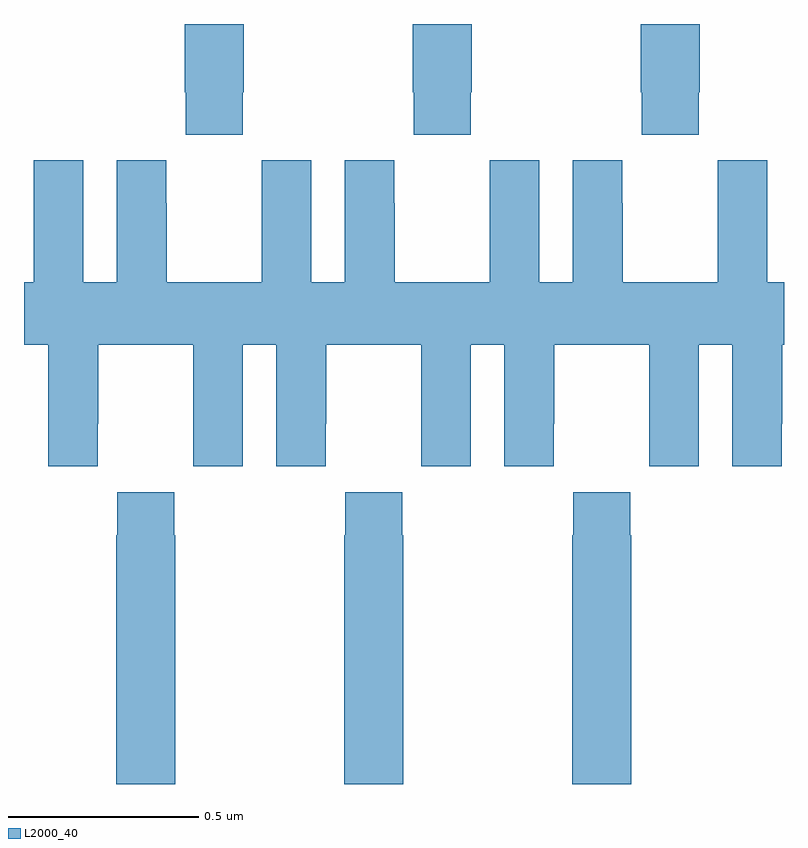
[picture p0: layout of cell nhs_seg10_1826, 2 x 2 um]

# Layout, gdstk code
import gdstk
lib = gdstk.Library(unit=1e-6, precision=1e-09)
def P(c, l, *ps):  # polygons
    for p in ps: c.add(gdstk.Polygon(p, *l))
L2000_40 = (2000, 40)

nhs_seg10_1826 = lib.new_cell('nhs_seg10_1826')
P(nhs_seg10_1826, L2000_40, [(133.575,1294.321),(133.578,1294.321),(133.578,1294.5),(133.423,1294.5),(133.423,1294.321),(133.425,1294.321),(133.425,1294.209),(133.575,1294.209)],
  [(134.175,1294.321),(134.178,1294.321),(134.178,1294.5),(134.023,1294.5),(134.023,1294.321),(134.025,1294.321),(134.025,1294.209),(134.175,1294.209)],
  [(134.775,1294.321),(134.778,1294.321),(134.778,1294.5),(134.623,1294.5),(134.623,1294.321),(134.625,1294.321),(134.625,1294.209),(134.775,1294.209)],
  [(133.844,1294.141),(133.844,1293.82),(133.756,1293.82),(133.756,1294.141),(133.626,1294.141),(133.626,1294.028),(133.625,1294.028),(133.625,1293.82),(133.375,1293.82),(133.375,1294.028),(133.374,1294.028),(133.374,1294.141),(133.244,1294.141),(133.244,1293.82),(133.156,1293.82),(133.156,1294.141),(133.026,1294.141),(133.026,1294.028),(133.025,1294.028),(133.025,1293.82),(133,1293.82),(133,1293.656),(133.064,1293.656),(133.064,1293.336),(133.194,1293.336),(133.194,1293.448),(133.195,1293.448),(133.195,1293.656),(133.445,1293.656),(133.445,1293.448),(133.446,1293.448),(133.446,1293.336),(133.576,1293.336),(133.576,1293.656),(133.664,1293.656),(133.664,1293.336),(133.794,1293.336),(133.794,1293.448),(133.795,1293.448),(133.795,1293.656),(134.045,1293.656),(134.045,1293.448),(134.046,1293.448),(134.046,1293.336),(134.176,1293.336),(134.176,1293.656),(134.264,1293.656),(134.264,1293.336),(134.394,1293.336),(134.394,1293.448),(134.395,1293.448),(134.395,1293.656),(134.645,1293.656),(134.645,1293.448),(134.646,1293.448),(134.646,1293.336),(134.776,1293.336),(134.776,1293.656),(134.864,1293.656),(134.864,1293.336),(134.994,1293.336),(134.994,1293.448),(134.995,1293.448),(134.995,1293.656),(135,1293.656),(135,1293.82),(134.956,1293.82),(134.956,1294.141),(134.826,1294.141),(134.826,1294.028),(134.825,1294.028),(134.825,1293.82),(134.575,1293.82),(134.575,1294.028),(134.574,1294.028),(134.574,1294.141),(134.444,1294.141),(134.444,1293.82),(134.356,1293.82),(134.356,1294.141),(134.226,1294.141),(134.226,1294.028),(134.225,1294.028),(134.225,1293.82),(133.975,1293.82),(133.975,1294.028),(133.974,1294.028),(133.974,1294.141)],
  [(134.598,1293.155),(134.595,1293.155),(134.595,1293.268),(134.445,1293.268),(134.445,1293.155),(134.443,1293.155),(134.443,1292.5),(134.598,1292.5)],
  [(133.998,1293.155),(133.995,1293.155),(133.995,1293.268),(133.845,1293.268),(133.845,1293.155),(133.843,1293.155),(133.843,1292.5),(133.998,1292.5)],
  [(133.398,1293.155),(133.395,1293.155),(133.395,1293.268),(133.245,1293.268),(133.245,1293.155),(133.243,1293.155),(133.243,1292.5),(133.398,1292.5)])

lib.write_gds('nhs_seg10_1826.gds')
